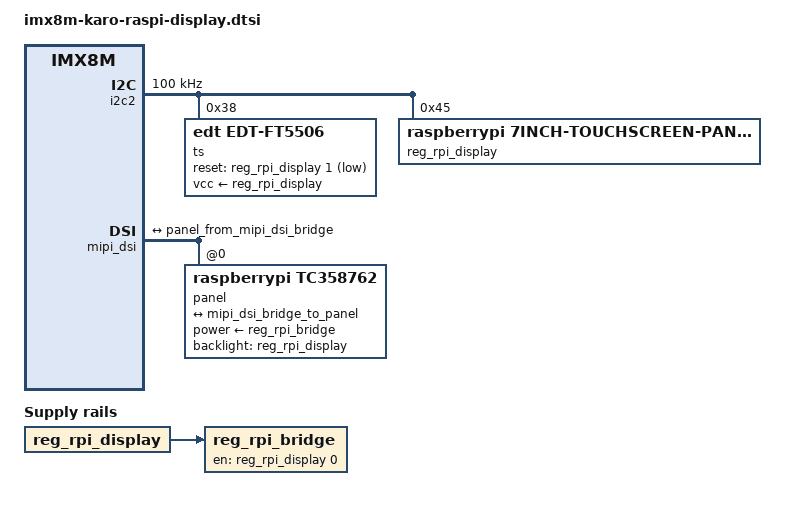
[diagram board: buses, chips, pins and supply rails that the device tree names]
// SPDX-License-Identifier: (GPL-2.0 OR MIT)
/*
 * Copyright 2025 Lothar Waßmann <LW@KARO-electronics.de>
 *
 */

#include <dt-bindings/gpio/gpio.h>

&{/} {
	reg_rpi_bridge: regulator-rpi-bridge {
		compatible = "regulator-fixed";
		regulator-name = "rpi-bridge";
		gpio = <&reg_rpi_display 0 GPIO_ACTIVE_HIGH>;
		vin-supply = <&reg_rpi_display>;
		enable-active-high;
	};
};

&i2c2 {
	status = "okay";
	clock-frequency = <100000>;

	ts@38 {
		compatible = "edt,edt-ft5506";
		reg = <0x38>;
		vcc-supply = <&reg_rpi_display>;
		reset-gpios = <&reg_rpi_display 1 1>;
		touchscreen-size-x = <800>;
		touchscreen-size-y = <480>;
		touchscreen-inverted-x;
		touchscreen-inverted-y;
	};

	reg_rpi_display: regulator-rpi-display@45 {
		compatible = "raspberrypi,7inch-touchscreen-panel-regulator";
		reg = <0x45>;
		gpio-controller;
		#gpio-cells = <2>;
	};
};

&mipi_dsi {
	status = "okay";

	panel@0 {
		reg = <0>;
		compatible = "raspberrypi,tc358762";
		dsi-lanes = <1>;
		video-mode = <2>;
		power-supply = <&reg_rpi_bridge>;
		backlight = <&reg_rpi_display>;
		status = "okay";

		port {
			panel_from_mipi_dsi_bridge: endpoint {
				remote-endpoint = <&mipi_dsi_bridge_to_panel>;
			};
		};
	};

	port@1 {
		reg = <1>;

		mipi_dsi_bridge_to_panel: endpoint {
			remote-endpoint = <&panel_from_mipi_dsi_bridge>;
		};
	};
};
